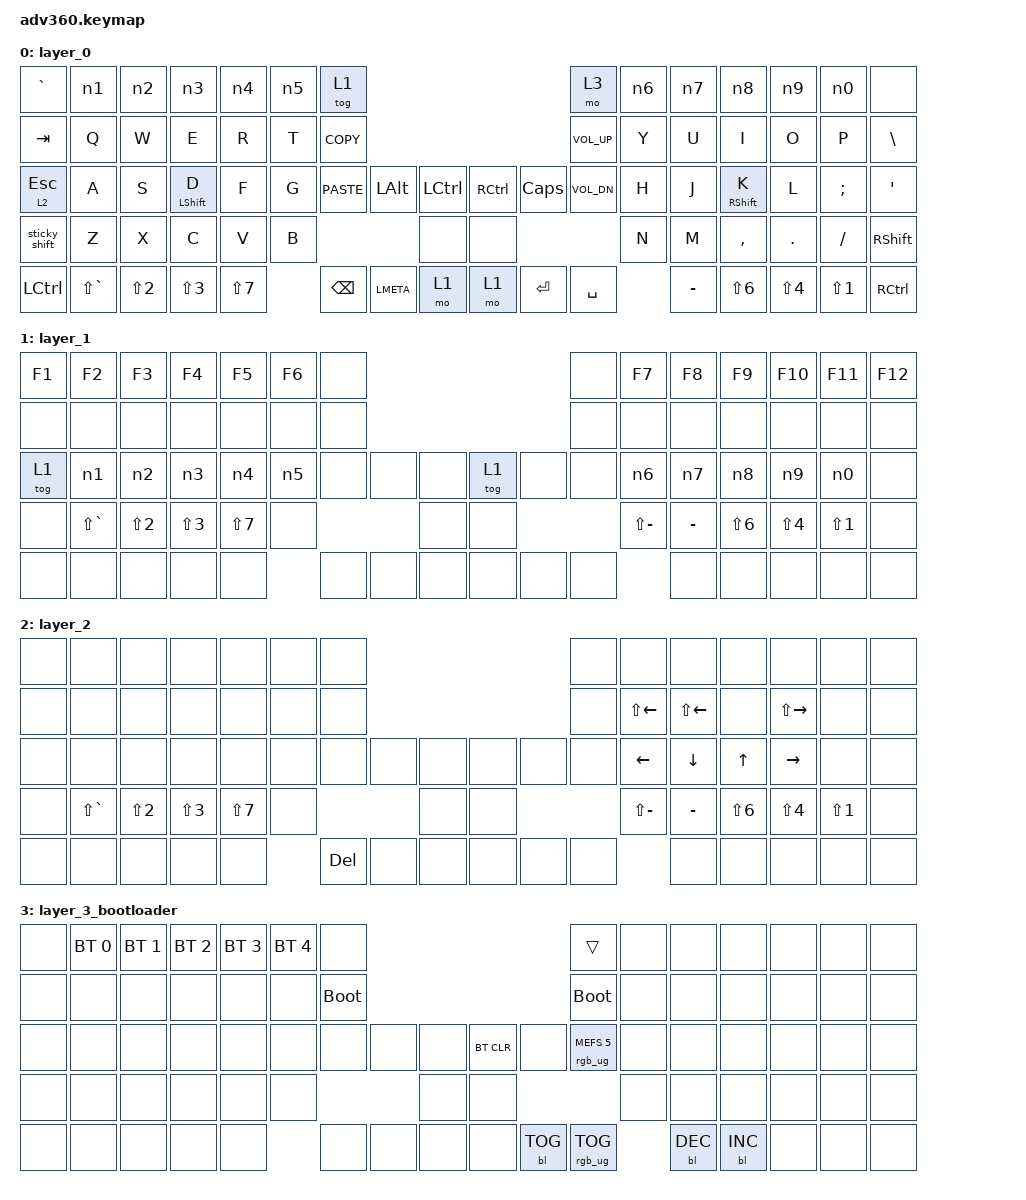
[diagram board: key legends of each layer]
/*
 * Copyright (c) 2020 The ZMK Contributors
 *
 * SPDX-License-Identifier: MIT
 */

// https://zmk.dev/docs/codes

#include <behaviors.dtsi>
#include <dt-bindings/zmk/keys.h>
#include <dt-bindings/zmk/bt.h>
#include <dt-bindings/zmk/rgb.h>
#include <dt-bindings/zmk/backlight.h>

/ {
    behaviors {
      #include "macros.dtsi"
      #include "version.dtsi"
      #ifndef VERSION_MACRO
      macro_ver: macro_ver {
        compatible = "zmk,behavior-macro";
        label = "macro_version";
        #binding-cells = <0>;
        bindings = <&kp RET>;
      };
      #endif

    hm: homerow_mods {
        compatible = "zmk,behavior-hold-tap";
        label = "HOMEROW_MODS";
        #binding-cells = <2>;
        tapping-term-ms = <200>;
        quick_tap_ms = <175>;
        flavor = "tap-preferred";
        bindings = <&kp>, <&kp>;
    };

    slash_excl: slash_excl {
        compatible = "zmk,behavior-tap-dance";
        label = "SLASH_EXCL";
        #binding-cells = <0>;
        tapping-term-ms = <200>;
        bindings = <&kp FSLH>, <&kp EQUAL>;

    };

    sticky_shift: sticky_shift {
        compatible = "zmk,behavior-tap-dance";
        label = "STICKY_SHIFT";
        #binding-cells = <0>;
        tapping-term-ms = <200>;
        bindings = <&kp LSHIFT>, <&caps_word>;

    };

    back_del: back_del {
        compatible = "zmk,behavior-mod-morph";
        label = "BACK_DEL";
        #binding-cells = <0>;
        bindings = <&kp BACKSPACE>, <&kp DELETE>;
        mods = <(MOD_LSFT|MOD_RSFT)>;
    };

    n1: plus_1 {
        compatible = "zmk,behavior-mod-morph";
        #binding-cells = <0>;
        label = "plus_1";
        bindings = <&kp LS(EQUAL)>, <&kp N1>;
        mods = <(MOD_LSFT|MOD_RSFT)>;
    };
    n2: lbkt_2 {
        compatible = "zmk,behavior-mod-morph";
        #binding-cells = <0>;
        label = "lbkt_2";
        bindings = <&kp LBKT>, <&kp N2>;
        mods = <(MOD_LSFT|MOD_RSFT)>;
    };
    n3: lbrc_3 {
        compatible = "zmk,behavior-mod-morph";
        #binding-cells = <0>;
        label = "lbrc_3";
        bindings = <&kp LS(LBKT)>, <&kp N3>;
        mods = <(MOD_LSFT|MOD_RSFT)>;
    };
    n4: lpar_4 {
        compatible = "zmk,behavior-mod-morph";
        #binding-cells = <0>;
        label = "lpar_4";
        bindings = <&kp LS(N9)>, <&kp N4>;
        mods = <(MOD_LSFT|MOD_RSFT)>;
    };
    n5: hash_5 {
        compatible = "zmk,behavior-mod-morph";
        #binding-cells = <0>;
        label = "hash_5";
        bindings = <&kp LS(N3)>, <&kp N5>;
        mods = <(MOD_LSFT|MOD_RSFT)>;
    };
    n6: equal_6 {
        compatible = "zmk,behavior-mod-morph";
        #binding-cells = <0>;
        label = "equal_6";
        bindings = <&kp EQUAL>, <&kp N6>;
        mods = <(MOD_LSFT|MOD_RSFT)>;
    };
    n7: rpar_7 {
        compatible = "zmk,behavior-mod-morph";
        #binding-cells = <0>;
        label = "rpar_7";
        bindings = <&kp LS(N0)>, <&kp N7>;
        mods = <(MOD_LSFT|MOD_RSFT)>;
    };
    n8: rbrc_8 {
        compatible = "zmk,behavior-mod-morph";
        #binding-cells = <0>;
        label = "rbrc_8";
        bindings = <&kp LS(RBKT)>, <&kp N8>;
        mods = <(MOD_LSFT|MOD_RSFT)>;
    };
    n9: rbkt_9 {
        compatible = "zmk,behavior-mod-morph";
        #binding-cells = <0>;
        label = "rbkt_9";
        bindings = <&kp RBKT>, <&kp N9>;
        mods = <(MOD_LSFT|MOD_RSFT)>;
    };
    n0: astk_0 {
        compatible = "zmk,behavior-mod-morph";
        #binding-cells = <0>;
        label = "astk_0";
        bindings = <&kp LS(N8)>, <&kp N0>;
        mods = <(MOD_LSFT|MOD_RSFT)>;
    };
  };

    keymap {
        compatible = "zmk,keymap";


        layer_0 {
bindings = <
&kp GRAVE     &n1           &n2           &n3            &n4              &n5         &tog 1                                                              &mo 3         &n6        &n7              &n8           &n9            &n0          &none
&kp TAB       &kp Q         &kp W         &kp E          &kp R            &kp T       &kp K_COPY                                                          &kp C_VOL_UP  &kp Y      &kp U            &kp I         &kp O          &kp P        &kp BSLH
&lt 2 ESC     &kp A         &kp S         &hm LSHIFT D   &kp F            &kp G       &kp K_PASTE     &kp LALT    &kp LCTRL        &kp RCTRL  &kp CAPS    &kp C_VOL_DN  &kp H      &kp J            &hm RSHIFT K  &kp L          &kp SEMI     &kp SQT
&sticky_shift &kp Z         &kp X         &kp C          &kp V            &kp B                                   &none            &none                                &kp N      &kp M            &kp COMMA     &kp DOT        &kp FSLH     &kp RSHFT
&kp LCTRL     &kp LS(GRAVE) &kp LS(N2)    &kp LS(N3)     &kp LS(N7)                   &kp BACKSPACE   &kp LMETA   &mo 1            &mo 1      &kp ENTER   &kp SPACE                &kp MINUS        &kp LS(N6)    &kp LS(N4)     &kp LS(N1)   &kp RCTRL
>;                                                                                                                                                                                                                     
        };                                                                                                                                                                                                             
                                                                                                                                                                                                                       
        layer_1 {                                                                                                                                                                                                 
bindings = <                                                                                                                                                                                               
&kp F1      &kp F2         &kp F3        &kp F4         &kp F5         &kp F6          &none                                                               &none         &kp F7         &kp F8       &kp F9        &kp F10       &kp F11      &kp F12
&none       &none          &none         &none          &none          &none           &none                                                               &none         &none          &none        &none         &none         &none        &none 
&tog 1      &n1            &n2           &n3            &n4            &n5             &none           &none       &none            &tog 1     &none       &none         &n6            &n7          &n8           &n9           &n0          &none 
&none       &kp LS(GRAVE)  &kp LS(N2)    &kp LS(N3)     &kp LS(N7)     &none                                       &none            &none                                &kp LS(MINUS)  &kp MINUS    &kp LS(N6)    &kp LS(N4)    &kp LS(N1)   &none
&none       &none          &none         &none          &none                          &none           &none       &none            &none      &none       &none                        &none        &none         &none         &none        &none 
>;
        };

        layer_2 {
bindings = <                                                                                                                                                                                               
&none       &none          &none         &none          &none          &none           &none                                                               &none         &none          &none        &none         &none         &none        &none 
&none       &none          &none         &none          &none          &none           &none                                                               &none         &kp LS(LEFT)   &kp LS(LEFT) &none         &kp LS(RIGHT) &none        &none     
&none       &none          &none         &none          &none          &none           &none           &none       &none            &none      &none       &none         &kp LEFT       &kp DOWN     &kp UP        &kp RIGHT     &none        &none  
&none       &kp LS(GRAVE)  &kp LS(N2)    &kp LS(N3)     &kp LS(N7)     &none                                       &none            &none                                &kp LS(MINUS)  &kp MINUS    &kp LS(N6)    &kp LS(N4)    &kp LS(N1)   &none
&none       &none          &none         &none          &none                          &kp DELETE      &none       &none            &none      &none       &none                        &none        &none         &none         &none        &none 
>;
        };

        layer_3_bootloader {
bindings = <
&none  &bt BT_SEL 0  &bt BT_SEL 1  &bt BT_SEL 2  &bt BT_SEL 3  &bt BT_SEL 4                  &none                                                                          &trans   &none       &none       &none   &none   &none   &none
&none         &none         &none         &none         &none         &none            &bootloader                                                                     &bootloader   &none       &none       &none   &none   &none   &none
&none         &none         &none         &none         &none         &none                  &none   &none   &none                  &bt BT_CLR       &none  &rgb_ug RGB_MEFS_CMD 5   &none       &none       &none   &none   &none   &none
&none         &none         &none         &none         &none         &none                                  &none                       &none                                       &none       &none       &none   &none   &none   &none
&none         &none         &none         &none         &none                                &none   &none   &none                       &none  &bl BL_TOG         &rgb_ug RGB_TOG          &bl BL_DEC  &bl BL_INC   &none   &none   &none
            >;
        };
    };
};
